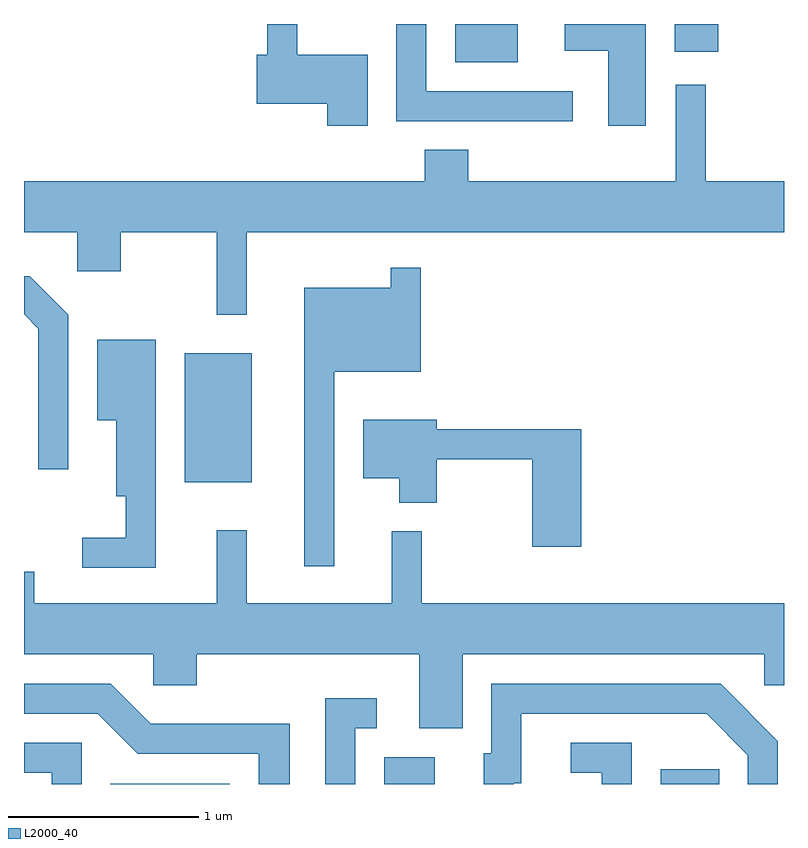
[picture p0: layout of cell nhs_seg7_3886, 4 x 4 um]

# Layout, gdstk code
import gdstk
lib = gdstk.Library(unit=1e-6, precision=1e-09)
def R(c, l, rs):  # rectangles x0, y0, x1, y1
    for r in rs: c.add(gdstk.rectangle(r[:2], r[2:], *l))
def P(c, l, *ps):  # polygons
    for p in ps: c.add(gdstk.Polygon(p, *l))
L2000_40 = (2000, 40)

nhs_seg7_3886 = lib.new_cell('nhs_seg7_3886')
R(nhs_seg7_3886, L2000_40, [(304.066,1760.252,304.694,1760.254), (305.506,1760.252,305.774,1760.394), (306.961,1760.252,307.269,1760.329), (304.456,1761.841,304.809,1762.519), (305.881,1764.051,306.209,1764.252), (307.036,1764.106,307.264,1764.252)])
P(nhs_seg7_3886, L2000_40, [(305.419,1764.089),(305.049,1764.089),(305.049,1764.252),(304.891,1764.252),(304.891,1764.089),(304.836,1764.089),(304.836,1763.831),(305.206,1763.831),(305.206,1763.716),(305.419,1763.716)],
  [(306.884,1764.252),(306.456,1764.252),(306.456,1764.111),(306.686,1764.111),(306.686,1763.716),(306.884,1763.716)],
  [(306.498,1763.899),(305.729,1763.899),(305.729,1764.252),(305.571,1764.252),(305.571,1763.741),(306.498,1763.741)],
  [(304.784,1763.156),(307.611,1763.156),(307.611,1763.424),(307.199,1763.424),(307.199,1763.933),(307.041,1763.933),(307.041,1763.424),(305.949,1763.424),(305.949,1763.589),(305.721,1763.589),(305.721,1763.424),(303.611,1763.424),(303.611,1763.156),(303.891,1763.156),(303.891,1762.951),(304.119,1762.951),(304.119,1763.156),(304.626,1763.156),(304.626,1762.723),(304.784,1762.723)],
  [(305.244,1762.421),(305.699,1762.421),(305.699,1762.968),(305.541,1762.968),(305.541,1762.864),(305.086,1762.864),(305.086,1761.398),(305.244,1761.398)],
  [(303.844,1762.722),(303.642,1762.924),(303.611,1762.924),(303.611,1762.724),(303.686,1762.649),(303.686,1761.908),(303.844,1761.908)],
  [(304.304,1762.589),(303.996,1762.589),(303.996,1762.166),(304.096,1762.166),(304.096,1761.766),(304.146,1761.766),(304.146,1761.549),(303.918,1761.549),(303.918,1761.391),(304.304,1761.391)],
  [(306.544,1762.119),(305.784,1762.119),(305.784,1762.169),(305.396,1762.169),(305.396,1761.861),(305.586,1761.861),(305.586,1761.731),(305.784,1761.731),(305.784,1761.961),(306.286,1761.961),(306.286,1761.501),(306.544,1761.501)],
  [(305.919,1760.936),(307.506,1760.936),(307.506,1760.771),(307.611,1760.771),(307.611,1761.204),(305.704,1761.204),(305.704,1761.583),(305.546,1761.583),(305.546,1761.204),(304.784,1761.204),(304.784,1761.588),(304.626,1761.588),(304.626,1761.204),(303.664,1761.204),(303.664,1761.369),(303.611,1761.369),(303.611,1760.936),(304.291,1760.936),(304.291,1760.771),(304.519,1760.771),(304.519,1760.936),(305.691,1760.936),(305.691,1760.546),(305.919,1760.546)],
  [(306.189,1760.256),(306.229,1760.256),(306.229,1760.621),(307.204,1760.621),(307.421,1760.404),(307.421,1760.252),(307.579,1760.252),(307.579,1760.477),(307.277,1760.779),(306.071,1760.779),(306.071,1760.414),(306.031,1760.414),(306.031,1760.252),(306.189,1760.252)],
  [(305.009,1760.569),(304.277,1760.569),(304.067,1760.779),(303.611,1760.779),(303.611,1760.621),(303.999,1760.621),(304.209,1760.411),(304.846,1760.411),(304.846,1760.252),(305.009,1760.252)],
  [(305.354,1760.546),(305.468,1760.546),(305.468,1760.704),(305.196,1760.704),(305.196,1760.252),(305.354,1760.252)],
  [(306.809,1760.469),(306.488,1760.469),(306.488,1760.311),(306.651,1760.311),(306.651,1760.252),(306.809,1760.252)],
  [(303.914,1760.469),(303.611,1760.469),(303.611,1760.311),(303.756,1760.311),(303.756,1760.252),(303.914,1760.252)])

lib.write_gds('nhs_seg7_3886.gds')
